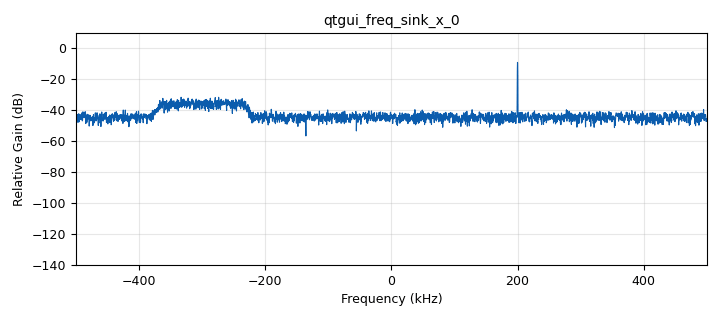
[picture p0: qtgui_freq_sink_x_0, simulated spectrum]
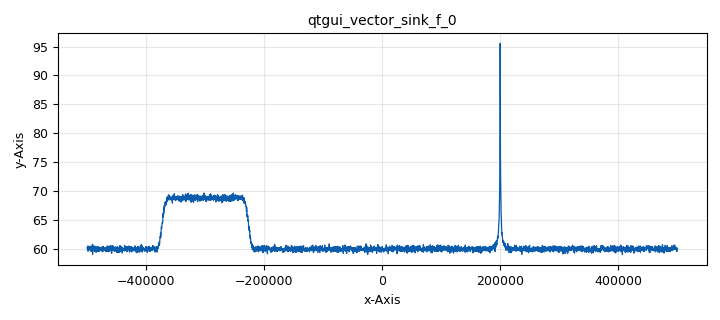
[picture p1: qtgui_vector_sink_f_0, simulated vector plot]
options:
  parameters:
    generate_options: qt_gui
    id: spectral_analysis
    output_language: python
    title: Not titled yet
  states: {}

blocks:
- name: broadband_amplitude
  id: variable
  parameters:
    value: np.sqrt(10**(broadband_cn0 / 10) * n0)
  states: {}
- name: broadband_cn0
  id: variable_qtgui_entry
  parameters:
    comment: CN0 = signal power / N0
    label: Broadband (Noise) CN0 (dB)
    type: real
    value: '60'
  states: {}
- name: broadband_freq
  id: variable_qtgui_entry
  parameters:
    label: Broadband Frequency (Hz)
    type: real
    value: '-300e3'
  states: {}
- name: integration_length_seconds
  id: variable
  parameters:
    comment: |-
      Averages more due to more time
      Smoother Noise with more time
    value: '1'
  states: {}
- name: n0
  id: variable
  parameters:
    comment: |-
      N0 = noise spectral density
      = noise power in 1 Hz bandwidth
    value: noise_amplitude**2 / samp_rate
  states: {}
- name: nfft
  id: variable
  parameters:
    value: '4096'
  states: {}
- name: noise_amplitude
  id: variable_qtgui_entry
  parameters:
    label: Noise Amplitude
    type: real
    value: '1'
  states: {}
- name: noise_bandwidth
  id: variable_qtgui_entry
  parameters:
    label: Noise Bandwidth (Hz)
    type: real
    value: 150e3
  states: {}
- name: number_integrations
  id: variable
  parameters:
    comment: = samp_rate / nfft
    value: round(samp_rate / nfft * integration_length_seconds)
  states: {}
- name: samp_rate
  id: variable
  parameters:
    value: 1e6
  states: {}
- name: tone_amplitude
  id: variable
  parameters:
    value: np.sqrt(10**(tone_cn0 / 10) * n0)
  states: {}
- name: tone_cn0
  id: variable_qtgui_entry
  parameters:
    comment: |-
      CN0 = signal power / N0
      Ability to detect tone is related to 
      FFT BW
    label: Tone CN0 (dB)
    type: real
    value: '60'
  states: {}
- name: tone_freq
  id: variable_qtgui_entry
  parameters:
    label: Tone Frequency (Hz)
    type: real
    value: 200e3
  states: {}
- name: analog_noise_source_x_0
  id: analog_noise_source_x
  parameters:
    amp: noise_amplitude
    noise_type: analog.GR_GAUSSIAN
    seed: '0'
    type: complex
  states: {}
- name: analog_noise_source_x_1
  id: analog_noise_source_x
  parameters:
    amp: broadband_amplitude
    noise_type: analog.GR_GAUSSIAN
    seed: '0'
    type: complex
  states: {}
- name: analog_sig_source_x_0
  id: analog_sig_source_x
  parameters:
    amp: tone_amplitude
    freq: tone_freq
    offset: '0'
    phase: '0'
    samp_rate: samp_rate
    type: complex
    waveform: analog.GR_COS_WAVE
  states: {}
- name: analog_sig_source_x_1
  id: analog_sig_source_x
  parameters:
    amp: '1'
    freq: broadband_freq
    offset: '0'
    phase: '0'
    samp_rate: samp_rate
    type: complex
    waveform: analog.GR_COS_WAVE
  states: {}
- name: blocks_add_xx_0
  id: blocks_add_xx
  parameters:
    num_inputs: '3'
    type: complex
  states: {}
- name: blocks_complex_to_mag_squared_0
  id: blocks_complex_to_mag_squared
  parameters:
    comment: Get Power
    vlen: nfft
  states: {}
- name: blocks_integrate_xx_0
  id: blocks_integrate_xx
  parameters:
    comment: |-
      It will send 100 inputs and produce an output
      output = sum of all those inputs
    decim: number_integrations
    type: float
    vlen: nfft
  states: {}
- name: blocks_multiply_xx_0
  id: blocks_multiply_xx
  parameters:
    type: complex
  states: {}
- name: blocks_nlog10_ff_0
  id: blocks_nlog10_ff
  parameters:
    k: '0'
    n: '10'
    vlen: nfft
  states: {}
- name: blocks_repeat_0
  id: blocks_repeat
  parameters:
    comment: |-
      Produce 1 output every second from Integrate
      Repeating that output 100 times
    interp: '100'
    type: float
    vlen: nfft
  states: {}
- name: blocks_stream_to_vector_0
  id: blocks_stream_to_vector
  parameters:
    num_items: nfft
    type: complex
  states: {}
- name: blocks_throttle2_1
  id: blocks_throttle2
  parameters:
    samples_per_second: samp_rate
    type: complex
  states: {}
- name: fft_vxx_0
  id: fft_vxx
  parameters:
    comment: |-
      Convert from time domain
      to freq domain
    fft_size: nfft
    forward: 'True'
    shift: 'True'
    type: complex
    window: window.rectangular(nfft)
  states: {}
- name: import_0
  id: import
  parameters:
    imports: import numpy as np
  states: {}
- name: pfb_arb_resampler_xxx_0
  id: pfb_arb_resampler_xxx
  parameters:
    atten: '100'
    comment: |-
      = samp_rate / noise bandwidth
      Similar to Rational Resampler
      Except it takes any number

      This creates a small noise band (smaller bandwidth)
    nfilts: '32'
    rrate: samp_rate / noise_bandwidth
    type: ccf
  states: {}
- name: qtgui_freq_sink_x_0
  id: qtgui_freq_sink_x
  parameters:
    average: '0.2'
    bw: samp_rate
    fc: '0'
    fftsize: '4096'
    type: complex
  states: {}
- name: qtgui_time_sink_x_0
  id: qtgui_time_sink_x
  parameters:
    comment: Disable on Mac
    size: '4096'
    srate: samp_rate
    type: complex
  states: {state: disabled}
- name: qtgui_vector_sink_f_0
  id: qtgui_vector_sink_f
  parameters:
    autoscale: 'True'
    comment: |-
      On the plot, every time the plot changes, 
      100 FFTs have been computed and the sum are being 
      shown (our own freq plot)
    vlen: nfft
    x_start: '-samp_rate / 2'
    x_step: samp_rate / nfft
    ymax: '90'
    ymin: '-50'
  states: {}
- name: virtual_sink_0
  id: virtual_sink
  parameters:
    comment: |-
      Connected to any sink
      with the same name
    stream_id: signal
  states: {}
- name: virtual_source_0
  id: virtual_source
  parameters:
    comment: |-
      Connects to any sink
      with the same name
    stream_id: signal
  states: {}

connections:
- [analog_noise_source_x_0, '0', blocks_add_xx_0, '0']
- [analog_noise_source_x_1, '0', pfb_arb_resampler_xxx_0, '0']
- [analog_sig_source_x_0, '0', blocks_throttle2_1, '0']
- [analog_sig_source_x_1, '0', blocks_multiply_xx_0, '1']
- [blocks_add_xx_0, '0', qtgui_freq_sink_x_0, '0']
- [blocks_add_xx_0, '0', qtgui_time_sink_x_0, '0']
- [blocks_add_xx_0, '0', virtual_sink_0, '0']
- [blocks_complex_to_mag_squared_0, '0', blocks_integrate_xx_0, '0']
- [blocks_integrate_xx_0, '0', blocks_nlog10_ff_0, '0']
- [blocks_multiply_xx_0, '0', blocks_add_xx_0, '2']
- [blocks_nlog10_ff_0, '0', blocks_repeat_0, '0']
- [blocks_repeat_0, '0', qtgui_vector_sink_f_0, '0']
- [blocks_stream_to_vector_0, '0', fft_vxx_0, '0']
- [blocks_throttle2_1, '0', blocks_add_xx_0, '1']
- [fft_vxx_0, '0', blocks_complex_to_mag_squared_0, '0']
- [pfb_arb_resampler_xxx_0, '0', blocks_multiply_xx_0, '0']
- [virtual_source_0, '0', blocks_stream_to_vector_0, '0']

metadata:
  file_format: 1
  grc_version: 3.10.12.0
